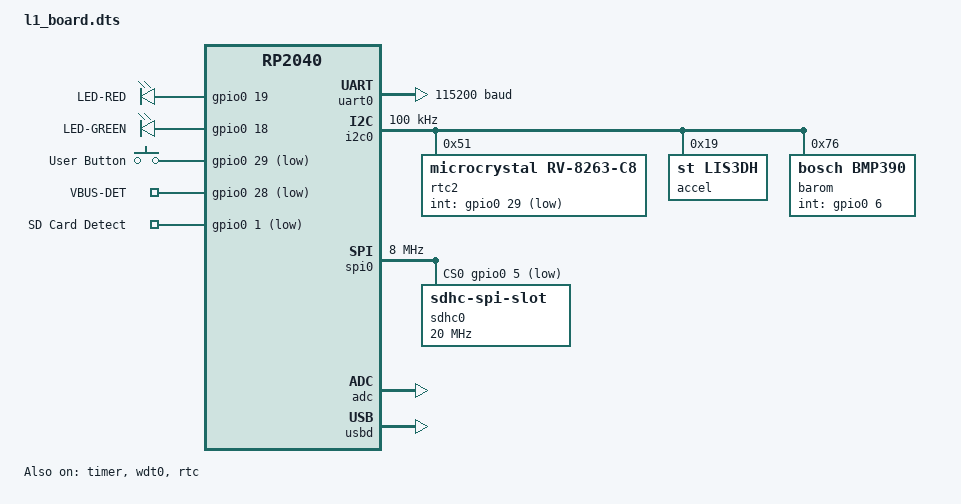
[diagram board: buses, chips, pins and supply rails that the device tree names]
/dts-v1/;
/*
 * Copyright (c) 2021 Yonatan Schachter
 *
 * SPDX-License-Identifier: Apache-2.0
 */

#include <freq.h>

#include <raspberrypi/rpi_pico/rp2040.dtsi>
#include "l1_board-pinctrl.dtsi"
#include <zephyr/dt-bindings/pwm/pwm.h>

#include <zephyr/dt-bindings/i2c/i2c.h>


/ {
    compatible = "launch,l1_board";
    chosen {
        zephyr,sram = &sram0;
        zephyr,flash = &flash0;
        zephyr,flash-controller = &ssi;
        zephyr,console = &uart0;
        zephyr,shell-uart = &uart0;
        zephyr,code-partition = &code_partition;
    };

    aliases {
        rtc = &rtc;
        watchdog0 = &wdt0;
        led0 = &led2;
    };
    leds {
        compatible = "gpio-leds";
        led1: led_red {
            gpios = <&gpio0 19 GPIO_ACTIVE_HIGH>;
            label = "LED-RED";
        };
        led2: led_green {
            gpios = <&gpio0 18 GPIO_ACTIVE_HIGH>;
            label = "LED-GREEN";
        };
    };

    gpio_keys {
		compatible = "gpio-keys";
		user_button: button_0 {
			label = "User Button";
			gpios = <&gpio0 29 GPIO_ACTIVE_LOW>; // CHECK DIRECTION
			// zephyr,code = <INPUT_KEY_0>;
		};
        vbus_det: vbus_gpio {
			label = "VBUS-DET";
			gpios = <&gpio0 28 GPIO_ACTIVE_LOW>; // CHECK DIRECTION
			// zephyr,code = <INPUT_KEY_1>;
        };
        sd_card_detect: sd_cd {
			label = "SD Card Detect";
			gpios = <&gpio0 1 GPIO_ACTIVE_LOW>; // CHECK DIRECTION
			// zephyr,code = <INPUT_KEY_1>;
        };
	};

};

&flash0 {
    reg = <0x10000000 DT_SIZE_M(16)>;

    partitions {
        compatible = "fixed-partitions";
        #address-cells = <1>;
        #size-cells = <1>;

        /* Reserved memory for the second stage bootloader */
        second_stage_bootloader: partition@0 {
            label = "second_stage_bootloader";
            reg = <0x00000000 0x100>;
            read-only;
        };

        /*
         * Usable flash. Starts at 0x100, after the bootloader. The partition
         * size is 16MB minus the 0x100 bytes taken by the bootloader.
         */
        code_partition: partition@100 {
            label = "code-partition";
            reg = <0x100 (DT_SIZE_M(16) - 0x100)>;
            read-only;
        };
    };
};

&uart0 {
    current-speed = <115200>;
    status = "okay";
    pinctrl-0 = <&uart0_default>;
    pinctrl-names = "default";
};

&gpio0 {
    status = "okay";
};

&i2c0 {
    clock-frequency = <I2C_BITRATE_STANDARD>;
    status = "okay";
    pinctrl-0 = <&i2c0_default>;
    pinctrl-names = "default";

    rtc2@51 {
        compatible = "microcrystal,rv-8263-c8";
        status = "okay";
        reg = <0x51>;
        int-gpios = <&gpio0 29 GPIO_ACTIVE_LOW>; // CHECK DIRECTION
        clkout = <4096>;
    };

    accel@19 { // could be 0x18
        compatible = "st,lis3dh";
        reg = < 0x19 >;
        // irq-gpios = <XXXXXXXXX
        //              &gpio 15 UNKNOWN_DIRECTION>; 
        // much to consider   
        // irq config needs considering as well
    };

    barom@76 {
        compatible = "bosch,bmp390";
        reg = < 0x76 >;
        odr = "100";      // maybe dont include this so app overlays can set it 
        osr-temp = < 32 >;  // maybe dont include this so app overlays can set it 
        osr-press = < 32 >; // maybe dont include this so app overlays can set it
        int-gpios = <&gpio0 6 GPIO_ACTIVE_HIGH>; // CHECK DIRECTION
    };

};

&i2c1 {
    pinctrl-0 = <&i2c1_default>;
    pinctrl-names = "default";
    status = "disabled";
    clock-frequency = <I2C_BITRATE_FAST>;
};

&spi0 {
    clock-frequency = <DT_FREQ_M(8)>;
    status = "okay";
    pinctrl-0 = <&spi0_default>;
    pinctrl-names = "default";
    cs-gpios = <&gpio0 5 GPIO_ACTIVE_LOW>; // CHECK DIRECTION
    
    // SD CARD
	sdhc0: sdhc@0 {
		status = "okay";
		compatible = "zephyr,sdhc-spi-slot";
		reg = <0>;
		spi-max-frequency = <20000000>;
		mmc {
			status = "okay";
			compatible = "zephyr,sdmmc-disk";
			disk-name = "SD";
		};
	};
};

&timer {
    status = "okay";
};

&wdt0 {
    status = "okay";
};

&rtc {
    clocks = <&clocks RPI_PICO_CLKID_CLK_RTC>;
    status = "okay";
};

&adc {
    status = "okay";
    pinctrl-0 = <&adc_default>;
    pinctrl-names = "default";
    // vbat on adc0
};

zephyr_udc0: &usbd {
    status = "okay";
};

&pwm {
    pinctrl-0 = <&pwm_ch4b_default>;
    pinctrl-names = "default";
};

&vreg {
    regulator-always-on;
    regulator-allowed-modes = <REGULATOR_RPI_PICO_MODE_NORMAL>;
};
